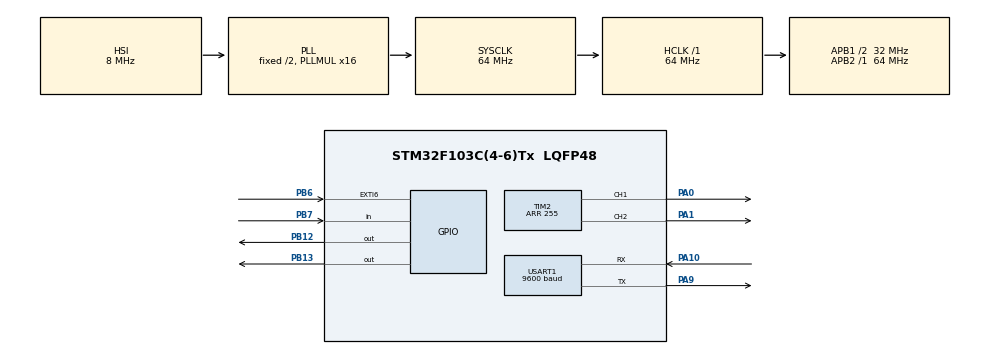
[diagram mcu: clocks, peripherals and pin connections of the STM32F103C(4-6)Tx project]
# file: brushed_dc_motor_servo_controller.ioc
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Mcu.Family=STM32F1
Mcu.Name=STM32F103C(4-6)Tx
Mcu.Package=LQFP48
NVIC.EXTI9_5_IRQn=true\:0\:0\:false\:false\:true\:true\:true\:true
NVIC.PriorityGroup=NVIC_PRIORITYGROUP_4
NVIC.TIM3_IRQn=true\:0\:0\:false\:false\:true\:true\:true\:true
NVIC.USART1_IRQn=true\:0\:0\:false\:false\:true\:true\:true\:true
PA0-WKUP.Signal=S_TIM2_CH1_ETR
PA1.Signal=S_TIM2_CH2
PA10.Mode=Asynchronous
PA10.Signal=USART1_RX
PA13.Mode=Serial_Wire
PA13.Signal=SYS_JTMS-SWDIO
PA14.Mode=Serial_Wire
PA14.Signal=SYS_JTCK-SWCLK
PA9.Mode=Asynchronous
PA9.Signal=USART1_TX
PB12.Signal=GPIO_Output
PB13.Signal=GPIO_Output
PB6.Signal=GPXTI6
PB7.Signal=GPIO_Input
ProjectManager.HeapSize=0x200
ProjectManager.StackSize=0x400
ProjectManager.TargetToolchain=STM32CubeIDE
RCC.AHBFreq_Value=64000000
RCC.APB1CLKDivider=RCC_HCLK_DIV2
RCC.APB1Freq_Value=32000000
RCC.APB1TimFreq_Value=64000000
RCC.APB2Freq_Value=64000000
RCC.APB2TimFreq_Value=64000000
RCC.HCLKFreq_Value=64000000
RCC.PLLMUL=RCC_PLL_MUL16
RCC.SYSCLKFreq_VALUE=64000000
RCC.SYSCLKSource=RCC_SYSCLKSOURCE_PLLCLK
RCC.USBFreq_Value=64000000
SH.S_TIM2_CH1_ETR.0=TIM2_CH1,PWM Generation1 CH1
SH.S_TIM2_CH2.0=TIM2_CH2,PWM Generation2 CH2
TIM2.AutoReloadPreload=TIM_AUTORELOAD_PRELOAD_ENABLE
TIM2.Channel-PWM\ Generation1\ CH1=TIM_CHANNEL_1
TIM2.Channel-PWM\ Generation2\ CH2=TIM_CHANNEL_2
TIM2.Period=255
TIM2.Pulse-PWM\ Generation1\ CH1=125
TIM3.Period=65535 - 1
TIM3.Prescaler=128 - 1
USART1.BaudRate=9600
USART1.VirtualMode=VM_ASYNC
VP_TIM2_VS_ClockSourceINT.Mode=Internal
VP_TIM3_VS_ClockSourceINT.Mode=Internal
board=custom

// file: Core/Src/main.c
/* USER CODE BEGIN Header */
/**
  ******************************************************************************
  * @file           : main.c
  * @brief          : Main program body
  ******************************************************************************
  * @attention
  *
  * Copyright (c) 2023 STMicroelectronics.
  * All rights reserved.
  *
  * This software is licensed under terms that can be found in the LICENSE file
  * in the root directory of this software component.
  * If no LICENSE file comes with this software, it is provided AS-IS.
  *
  ******************************************************************************
  */
/* USER CODE END Header */
#include "main.h"

/* USER CODE BEGIN Includes */
#include <stdio.h>
#include <stdlib.h>
#include <string.h>
#include <math.h>
/* USER CODE END Includes */

/* USER CODE BEGIN PM */

#define RECIEVED_BUFFER_SIZE 4
#define PWM_CLOCKWISE_CHANNEL TIM_CHANNEL_1
#define GPIO_CLOCKWISE_PIN GPIO_PIN_12 // port B
#define GPIO_COUNTER_CLOCKWISE_PIN GPIO_PIN_13 // Port B
#define PWM_COUNTER_CLOCKWISE_CHANNEL TIM_CHANNEL_2
#define PWM_DEADTIME_DELAY 1
/* USER CODE END PM */

TIM_HandleTypeDef htim2;
TIM_HandleTypeDef htim3;

UART_HandleTypeDef huart1;

/* USER CODE BEGIN PV */

typedef enum MotorDirection
{
	ClockWise = 0,
	CounterClockWise,
  none
}MotorDirection;
typedef struct ConfigData
{
	float speed;
	float position;
	float acceleration;
	float deceleration;
	float accelerationTime;
	float decelerationTime;
	float encoderPulses;
	float gearRatio;
	float ki;
	float kp;
	float kd;
	uint8_t send;
} ConfigData;

MotorDirection motorDirection = ClockWise;
MotorDirection prevMotorDirection = none;

float filt_speed_1 = 0.001f;
float motor_speed_1 = 0.001f;

uint32_t PWM_CurrentChannel = PWM_CLOCKWISE_CHANNEL;
uint32_t PWM_countingDutyCycle = 0;

uint8_t rx_buffer[1];
uint8_t buffer[256];
uint8_t bufferIndex = 0;
ConfigData data;

float motor_current_position;
float motor_prev_position;
float motor_current_speed = 1.0f;
float motor_current_acceleration;
float _time;

// position PID
uint32_t currentTime;
float deltaTime;
uint32_t prevTime;

float errorValue;
float prevErrorValue;
float derivative;
float integral;
float controlSignal = 0.0f;
static float fs = 0.0f;
//Motion Profile
typedef struct MotionProfile
{
	float max_acceleration;
	float max_deceleration;
	float total_distance;
	float distance_to_max_velocity;
	float distance_to_stop;
	float distance_at_max_velocity;
	float time_to_max_velocity;
	float time_at_max_velocity;
	float time_to_stop;
	float total_time;
	float max_velocity;
  float initial_velocity;
  float initial_position;
  MotorDirection dir;
} MotionProfile;

MotionProfile motionProfile;

/* USER CODE END PV */

void SystemClock_Config(void);
static void MX_GPIO_Init(void);
static void MX_USART1_UART_Init(void);
static void MX_TIM2_Init(void);
static void MX_TIM3_Init(void);
/* USER CODE BEGIN PFP */
float PulsestoDegrees(float pulses)
{
	return ((pulses * 360.0f) / (data.gearRatio * data.encoderPulses));
}

void CalculateMotionProfile()
{
	memset(&motionProfile, 0, sizeof(motionProfile));

  if(data.position < PulsestoDegrees(motor_current_position))
    motionProfile.dir = ClockWise;
  else
    motionProfile.dir = CounterClockWise;

	motionProfile.max_acceleration = data.acceleration;
	motionProfile.max_deceleration = data.deceleration;
    motionProfile.initial_velocity = fs;
    motionProfile.initial_position = PulsestoDegrees(motor_current_position);
	motionProfile.total_distance = fabs((data.position) - (PulsestoDegrees(motor_current_position)));
	motionProfile.max_velocity = motionProfile.dir == ClockWise? -data.speed : data.speed;
	if(motionProfile.max_acceleration == 0.0f || motionProfile.max_deceleration == 0.0f || motionProfile.max_velocity == 0.0f)
		return;
	motionProfile.time_to_max_velocity = fabs((motionProfile.max_velocity - motionProfile.initial_velocity) / motionProfile.max_acceleration);
	motionProfile.time_to_stop = fabs((motionProfile.max_velocity) / -motionProfile.max_deceleration);

	motionProfile.distance_to_max_velocity = 0.5 * motionProfile.max_acceleration * (float)pow(motionProfile.time_to_max_velocity, 2);
	motionProfile.distance_to_stop = 0.5 * motionProfile.max_deceleration * (float)pow(motionProfile.time_to_stop, 2);
	motionProfile.distance_at_max_velocity = motionProfile.total_distance - (motionProfile.distance_to_max_velocity + motionProfile.distance_to_stop);

	motionProfile.time_at_max_velocity = fabs(motionProfile.distance_at_max_velocity / motionProfile.max_velocity);
    motionProfile.total_time = motionProfile.time_at_max_velocity + motionProfile.time_to_max_velocity + motionProfile.time_to_stop;

	motionProfile.max_deceleration *= -1;
	if(motionProfile.dir == ClockWise)
	{
	motionProfile.distance_at_max_velocity *= -1;
	motionProfile.distance_to_max_velocity *= -1;
	motionProfile.distance_to_stop *= -1;
	motionProfile.total_distance *= -1;
	motionProfile.max_acceleration *= -1;
	motionProfile.max_deceleration *= -1;
	}
}

float GetPostionAtTime()
{
  float currentPos = 0.0f;

  if (_time <= motionProfile.time_to_max_velocity)
  {
    currentPos = motionProfile.initial_position + (motionProfile.initial_velocity * _time + 0.5f * ( motionProfile.max_acceleration * pow(_time, 2)));
  }
  else if(_time <= motionProfile.time_to_max_velocity + motionProfile.time_at_max_velocity)
  {
    currentPos = motionProfile.initial_position + motionProfile.distance_to_max_velocity + (motionProfile.max_velocity * (_time - motionProfile.time_to_max_velocity));
  }
  else if(_time <= motionProfile.total_time)
  {
    float v = ((motionProfile.max_velocity * (_time - (motionProfile.time_to_max_velocity + motionProfile.time_at_max_velocity))) + 0.5f * motionProfile.max_deceleration * pow((_time - (motionProfile.time_to_max_velocity + motionProfile.time_at_max_velocity)), 2));
    currentPos =  motionProfile.initial_position + motionProfile.distance_to_max_velocity + motionProfile.distance_at_max_velocity + v;
  }
  else
  {
    currentPos = motionProfile.initial_position + motionProfile.distance_to_max_velocity + motionProfile.distance_at_max_velocity + motionProfile.distance_to_stop;
  }
  return currentPos;
}

float GetVelocityAtTime()
{
	float velocity;
	//Acceleration Phase
	if(_time < motionProfile.time_to_max_velocity)
	{
    if(motionProfile.initial_velocity > motionProfile.max_velocity)
		  velocity = motionProfile.initial_velocity + motionProfile.max_acceleration * _time;
    else
      velocity = motionProfile.initial_velocity + motionProfile.max_acceleration * _time;
	}
	//Max Velocity Phase
	else if(_time < (motionProfile.time_at_max_velocity + motionProfile.time_to_max_velocity))
	{
		velocity = motionProfile.max_velocity;
	}
	//Deceleration Phase
	else if (_time < (motionProfile.total_time))
	{
    if(motionProfile.initial_velocity > motionProfile.max_velocity)
		  velocity = motionProfile.max_velocity + (motionProfile.max_deceleration * (_time - motionProfile.time_at_max_velocity - motionProfile.time_to_max_velocity));
    else
      velocity = motionProfile.max_velocity + (motionProfile.max_deceleration * (_time - motionProfile.time_at_max_velocity - motionProfile.time_to_max_velocity));

	}
	else
	{
		velocity = 0.0f;
	}
  return velocity;
}

void CalculateSpeed()
{
	motor_current_speed = (PulsestoDegrees(motor_current_position) - PulsestoDegrees(motor_prev_position)) / deltaTime;
	motor_prev_position = motor_current_position;
}

void CalculatePID()
{

	currentTime = HAL_GetTick();
	deltaTime = (float)((float)(currentTime) - (float)(prevTime)) / 1000.0f;

	_time = _time + deltaTime;

  if (!isnanf(motor_current_speed) && !isinf(motor_current_speed))
  {
    fs = 0.1f * motor_current_speed + (1.0f - 0.1f) * fs;
  }

	errorValue = GetPostionAtTime() - PulsestoDegrees(motor_current_position);
	//errorValue = GetVelocityAtTime() - fs;
  //errorValue = data.position - PulsestoDegrees(motor_current_position);
	derivative = (errorValue - prevErrorValue) / deltaTime;
	integral = integral + errorValue * deltaTime;

	controlSignal = data.kp * errorValue + data.ki * integral + data.kd * derivative;

	char msg[255];
	sprintf(msg, "%d %d %d %d\n\0", (int)GetVelocityAtTime(), (int)fs, (int)PulsestoDegrees(motor_current_position), (int)GetPostionAtTime());
	HAL_UART_Transmit(&huart1, (uint8_t*)msg, strlen(msg), HAL_MAX_DELAY);

	prevTime = currentTime;
	prevErrorValue = errorValue;
}

void DriveMotor()
{

	if(controlSignal < 0)
	{
		motorDirection = ClockWise;
	}
	else
	{
		motorDirection = CounterClockWise;
	}

	if(prevMotorDirection != motorDirection)
	{
		switch(motorDirection)
		{
		case ClockWise:
		{
		  PWM_CurrentChannel = PWM_CLOCKWISE_CHANNEL;
		  __HAL_TIM_SET_COMPARE(&htim2, PWM_COUNTER_CLOCKWISE_CHANNEL, 0);
		  __HAL_TIM_SET_COMPARE(&htim2, PWM_CLOCKWISE_CHANNEL, 0);
		  //delay here
		  //HAL_Delay(PWM_DEADTIME_DELAY);
		  __HAL_TIM_SET_COMPARE(&htim2, PWM_CurrentChannel, 0);
		  HAL_GPIO_WritePin(GPIOB, GPIO_COUNTER_CLOCKWISE_PIN, GPIO_PIN_SET);
		  HAL_GPIO_WritePin(GPIOB, GPIO_CLOCKWISE_PIN, GPIO_PIN_RESET);

		}break;
		case CounterClockWise:
		{
		  PWM_CurrentChannel = PWM_COUNTER_CLOCKWISE_CHANNEL;
		  __HAL_TIM_SET_COMPARE(&htim2, PWM_CLOCKWISE_CHANNEL, 0);
		  __HAL_TIM_SET_COMPARE(&htim2, PWM_COUNTER_CLOCKWISE_CHANNEL, 0);
		  //delay here
		 // HAL_Delay(PWM_DEADTIME_DELAY);
		  __HAL_TIM_SET_COMPARE(&htim2, PWM_CurrentChannel, 0);
		  HAL_GPIO_WritePin(GPIOB, GPIO_CLOCKWISE_PIN, GPIO_PIN_SET);
		  HAL_GPIO_WritePin(GPIOB, GPIO_COUNTER_CLOCKWISE_PIN, GPIO_PIN_RESET);
		}break;
		}
	}

	//setting PWM value
	PWM_countingDutyCycle = (uint32_t)fabs(controlSignal);
	if(PWM_countingDutyCycle > 205)
	{
		PWM_countingDutyCycle = 205;
	}
    __HAL_TIM_SET_COMPARE(&htim2, PWM_CurrentChannel, PWM_countingDutyCycle);

	prevMotorDirection = motorDirection;
}
/* USER CODE END PFP */

/* USER CODE BEGIN 0 */

void HAL_UART_RxCpltCallback(UART_HandleTypeDef *huart)
{
	HAL_UART_Receive_IT(&huart1, rx_buffer, 1);
	if(rx_buffer[0] == '\n')
	{
		int p, s, a, d;
		sscanf(buffer, "%d %d %d %d", &p, &s, &a, &d);
		memset(buffer, 0, 256);
		data.position = p;
		data.speed = s;
		data.acceleration = a;
		data.deceleration = d;
		bufferIndex = 0;
		_time = 0.0f;
		integral = 0.0f;
		controlSignal = 0.0f;
		CalculateMotionProfile();
		return;
	}
	buffer[bufferIndex] = rx_buffer[0];
	bufferIndex++;
}

void HAL_GPIO_EXTI_Callback(uint16_t GPIO_Pin)
{
  if(GPIO_Pin == GPIO_PIN_6)
  {
	  int32_t inc = 0;
	  if(HAL_GPIO_ReadPin(GPIOB, GPIO_PIN_7))
	  {
		   inc = 1;
	  }
	  else
	  {
		  inc = -1;
	  }
	  motor_current_position += (float)inc;
  }
}

/* USER CODE END 0 */

int main(void)
{

  /* MCU Configuration--------------------------------------------------------*/

  /* Reset of all peripherals, Initializes the Flash interface and the Systick. */
  HAL_Init();

  /* Configure the system clock */
  SystemClock_Config();

  /* Initialize all configured peripherals */
  MX_GPIO_Init();
  MX_USART1_UART_Init();
  MX_TIM2_Init();
  MX_TIM3_Init();
  /* USER CODE BEGIN 2 */
  HAL_UART_Receive_IT(&huart1, rx_buffer, 1);
  HAL_TIM_PWM_Start(&htim2, TIM_CHANNEL_1);
  HAL_TIM_PWM_Start(&htim2, TIM_CHANNEL_2);
  HAL_TIM_Base_Start_IT(&htim3);
  data.gearRatio = 3249.0f / 121.0f;
  data.encoderPulses = 500.0f;

  data.kp = 5.00f;
  data.ki = 0.1f;
  data.kd = 0.1f;
  /* USER CODE END 2 */

  /* Infinite loop */
  while (1)
  {

    /* USER CODE BEGIN 3 */
	  CalculateSpeed();
	  CalculatePID();
	  DriveMotor();
  }
  /* USER CODE END 3 */
}

void SystemClock_Config(void)
{
  RCC_OscInitTypeDef RCC_OscInitStruct = {0};
  RCC_ClkInitTypeDef RCC_ClkInitStruct = {0};

  /** Initializes the RCC Oscillators according to the specified parameters
  * in the RCC_OscInitTypeDef structure.
  */
  RCC_OscInitStruct.OscillatorType = RCC_OSCILLATORTYPE_HSI;
  RCC_OscInitStruct.HSIState = RCC_HSI_ON;
  RCC_OscInitStruct.HSICalibrationValue = RCC_HSICALIBRATION_DEFAULT;
  RCC_OscInitStruct.PLL.PLLState = RCC_PLL_ON;
  RCC_OscInitStruct.PLL.PLLSource = RCC_PLLSOURCE_HSI_DIV2;
  RCC_OscInitStruct.PLL.PLLMUL = RCC_PLL_MUL16;
  if (HAL_RCC_OscConfig(&RCC_OscInitStruct) != HAL_OK)
  {
    Error_Handler();
  }

  /** Initializes the CPU, AHB and APB buses clocks
  */
  RCC_ClkInitStruct.ClockType = RCC_CLOCKTYPE_HCLK|RCC_CLOCKTYPE_SYSCLK
                              |RCC_CLOCKTYPE_PCLK1|RCC_CLOCKTYPE_PCLK2;
  RCC_ClkInitStruct.SYSCLKSource = RCC_SYSCLKSOURCE_PLLCLK;
  RCC_ClkInitStruct.AHBCLKDivider = RCC_SYSCLK_DIV1;
  RCC_ClkInitStruct.APB1CLKDivider = RCC_HCLK_DIV2;
  RCC_ClkInitStruct.APB2CLKDivider = RCC_HCLK_DIV1;

  if (HAL_RCC_ClockConfig(&RCC_ClkInitStruct, FLASH_LATENCY_2) != HAL_OK)
  {
    Error_Handler();
  }
}

static void MX_TIM2_Init(void)
{

  TIM_ClockConfigTypeDef sClockSourceConfig = {0};
  TIM_MasterConfigTypeDef sMasterConfig = {0};
  TIM_OC_InitTypeDef sConfigOC = {0};

  htim2.Instance = TIM2;
  htim2.Init.Prescaler = 0;
  htim2.Init.CounterMode = TIM_COUNTERMODE_UP;
  htim2.Init.Period = 255;
  htim2.Init.ClockDivision = TIM_CLOCKDIVISION_DIV1;
  htim2.Init.AutoReloadPreload = TIM_AUTORELOAD_PRELOAD_ENABLE;
  if (HAL_TIM_Base_Init(&htim2) != HAL_OK)
  {
    Error_Handler();
  }
  sClockSourceConfig.ClockSource = TIM_CLOCKSOURCE_INTERNAL;
  if (HAL_TIM_ConfigClockSource(&htim2, &sClockSourceConfig) != HAL_OK)
  {
    Error_Handler();
  }
  if (HAL_TIM_PWM_Init(&htim2) != HAL_OK)
  {
    Error_Handler();
  }
  sMasterConfig.MasterOutputTrigger = TIM_TRGO_RESET;
  sMasterConfig.MasterSlaveMode = TIM_MASTERSLAVEMODE_DISABLE;
  if (HAL_TIMEx_MasterConfigSynchronization(&htim2, &sMasterConfig) != HAL_OK)
  {
    Error_Handler();
  }
  sConfigOC.OCMode = TIM_OCMODE_PWM1;
  sConfigOC.Pulse = 125;
  sConfigOC.OCPolarity = TIM_OCPOLARITY_HIGH;
  sConfigOC.OCFastMode = TIM_OCFAST_DISABLE;
  if (HAL_TIM_PWM_ConfigChannel(&htim2, &sConfigOC, TIM_CHANNEL_1) != HAL_OK)
  {
    Error_Handler();
  }
  sConfigOC.Pulse = 0;
  if (HAL_TIM_PWM_ConfigChannel(&htim2, &sConfigOC, TIM_CHANNEL_2) != HAL_OK)
  {
    Error_Handler();
  }
  HAL_TIM_MspPostInit(&htim2);

}

static void MX_TIM3_Init(void)
{

  TIM_ClockConfigTypeDef sClockSourceConfig = {0};
  TIM_MasterConfigTypeDef sMasterConfig = {0};

  htim3.Instance = TIM3;
  htim3.Init.Prescaler = 128 - 1;
  htim3.Init.CounterMode = TIM_COUNTERMODE_UP;
  htim3.Init.Period = 65535 - 1;
  htim3.Init.ClockDivision = TIM_CLOCKDIVISION_DIV1;
  htim3.Init.AutoReloadPreload = TIM_AUTORELOAD_PRELOAD_DISABLE;
  if (HAL_TIM_Base_Init(&htim3) != HAL_OK)
  {
    Error_Handler();
  }
  sClockSourceConfig.ClockSource = TIM_CLOCKSOURCE_INTERNAL;
  if (HAL_TIM_ConfigClockSource(&htim3, &sClockSourceConfig) != HAL_OK)
  {
    Error_Handler();
  }
  sMasterConfig.MasterOutputTrigger = TIM_TRGO_RESET;
  sMasterConfig.MasterSlaveMode = TIM_MASTERSLAVEMODE_DISABLE;
  if (HAL_TIMEx_MasterConfigSynchronization(&htim3, &sMasterConfig) != HAL_OK)
  {
    Error_Handler();
  }

}

static void MX_USART1_UART_Init(void)
{

  huart1.Instance = USART1;
  huart1.Init.BaudRate = 9600;
  huart1.Init.WordLength = UART_WORDLENGTH_8B;
  huart1.Init.StopBits = UART_STOPBITS_1;
  huart1.Init.Parity = UART_PARITY_NONE;
  huart1.Init.Mode = UART_MODE_TX_RX;
  huart1.Init.HwFlowCtl = UART_HWCONTROL_NONE;
  huart1.Init.OverSampling = UART_OVERSAMPLING_16;
  if (HAL_UART_Init(&huart1) != HAL_OK)
  {
    Error_Handler();
  }

}

static void MX_GPIO_Init(void)
{
  GPIO_InitTypeDef GPIO_InitStruct = {0};

  /* GPIO Ports Clock Enable */
  __HAL_RCC_GPIOA_CLK_ENABLE();
  __HAL_RCC_GPIOB_CLK_ENABLE();

  /*Configure GPIO pin Output Level */
  HAL_GPIO_WritePin(GPIOB, GPIO_PIN_12|GPIO_PIN_13, GPIO_PIN_RESET);

  /*Configure GPIO pins : PB12 PB13 */
  GPIO_InitStruct.Pin = GPIO_PIN_12|GPIO_PIN_13;
  GPIO_InitStruct.Mode = GPIO_MODE_OUTPUT_PP;
  GPIO_InitStruct.Pull = GPIO_NOPULL;
  GPIO_InitStruct.Speed = GPIO_SPEED_FREQ_LOW;
  HAL_GPIO_Init(GPIOB, &GPIO_InitStruct);

  /*Configure GPIO pin : PB6 */
  GPIO_InitStruct.Pin = GPIO_PIN_6;
  GPIO_InitStruct.Mode = GPIO_MODE_IT_RISING;
  GPIO_InitStruct.Pull = GPIO_NOPULL;
  HAL_GPIO_Init(GPIOB, &GPIO_InitStruct);

  /*Configure GPIO pin : PB7 */
  GPIO_InitStruct.Pin = GPIO_PIN_7;
  GPIO_InitStruct.Mode = GPIO_MODE_INPUT;
  GPIO_InitStruct.Pull = GPIO_NOPULL;
  HAL_GPIO_Init(GPIOB, &GPIO_InitStruct);

  /* EXTI interrupt init*/
  HAL_NVIC_SetPriority(EXTI9_5_IRQn, 0, 0);
  HAL_NVIC_EnableIRQ(EXTI9_5_IRQn);

}

void Error_Handler(void)
{
  __disable_irq();
  while (1)
  {
  }
}
